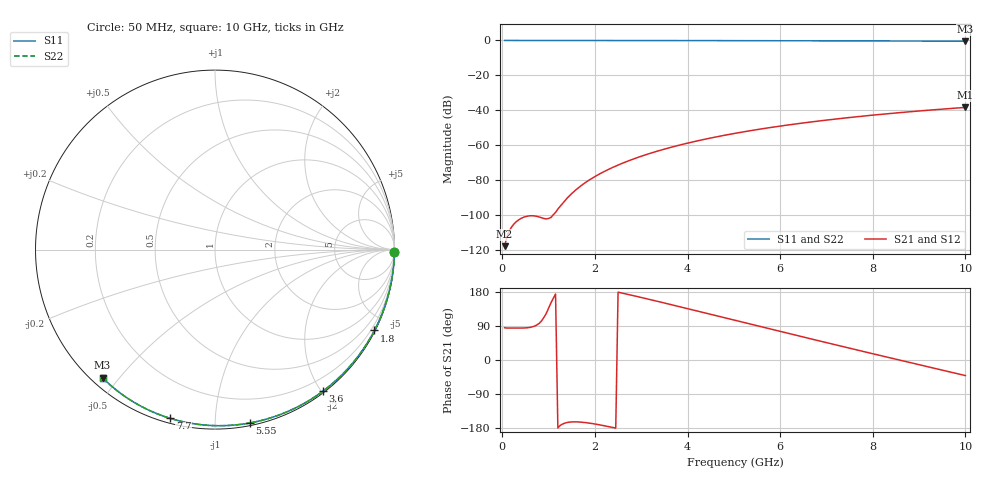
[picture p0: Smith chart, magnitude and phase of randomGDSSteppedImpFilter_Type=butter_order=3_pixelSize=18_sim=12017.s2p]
! freq	dB(S11)	phase(S11)	dB(S12)	phase(S12)
!  dB(S21)	phase(S21)	dB(S22)	phase(S22)
!S-par simulation data
#  GHz  S  DB  R 50
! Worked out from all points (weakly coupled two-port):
!   200 points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, 50 MHz to 10 GHz, reference 50 ohm
!   highest |S21| = -38.41 dB at 10 GHz (marker M1); lowest = -118.0 dB at 50 MHz (marker M2)
!   lowest |S11| = -0.4 dB at 10 GHz (marker M3), VSWR 39.08, Z = 1.54 - j22.6 ohm
!   |S11| at or under -10 dB: nowhere
!   |S22| runs from -0.4 to 0.0 dB; largest |S21 - S12| = 0
!   S11 on the Smith chart (normalised r, x): 50 MHz: open; 1.8 GHz: 0.04, -4.18; 3.6 GHz: 0.02, -2.02; 5.55 GHz: 0.02, -1.22; 7.7 GHz: 0.02, -0.77; 10 GHz: 0.03, -0.45
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0.05  -0.00 -0.8  -117.98 85.1  -117.98 85.1  -0.00 -0.8
0.9  -0.02 -13.6  -102.12 112.7  -102.12 112.7  -0.02 -13.6
1.75  -0.03 -26.2  -82.34 -164.5  -82.34 -164.5  -0.03 -26.2
1.8  -0.03 -26.9  -81.41 -165.2  -81.41 -165.2  -0.03 -26.9
1.85  -0.04 -27.6  -80.52 -166.0  -80.52 -166.0  -0.04 -27.6
1.9  -0.04 -28.4  -79.67 -166.9  -79.67 -166.9  -0.04 -28.4
2.05  -0.04 -30.5  -77.30 -170.0  -77.30 -170.0  -0.04 -30.5
2.25  -0.04 -33.5  -74.50 -174.6  -74.50 -174.6  -0.04 -33.4
2.45  -0.05 -36.3  -72.03 -179.7  -72.03 -179.7  -0.05 -36.3
2.65  -0.05 -39.2  -69.81 174.9  -69.81 174.9  -0.05 -39.2
3  -0.06 -44.2  -66.41 165.0  -66.41 165.0  -0.06 -44.2
3.4  -0.07 -49.8  -63.07 153.4  -63.07 153.4  -0.07 -49.8
3.6  -0.07 -52.6  -61.58 147.5  -61.58 147.5  -0.07 -52.6
4.3  -0.09 -62.2  -57.07 126.5  -57.07 126.5  -0.09 -62.1
5.05  -0.11 -72.1  -53.15 104.0  -53.15 104.0  -0.11 -72.1
5.55  -0.13 -78.6  -50.91 89.0  -50.91 89.0  -0.13 -78.6
6.1  -0.15 -85.5  -48.73 72.5  -48.73 72.5  -0.15 -85.5
6.7  -0.18 -92.9  -46.63 54.7  -46.63 54.7  -0.18 -92.9
7.7  -0.24 -104.9  -43.63 25.3  -43.63 25.3  -0.24 -104.9
8.35  -0.29 -112.5  -41.95 6.4  -41.95 6.4  -0.29 -112.5
9.15  -0.36 -121.7  -40.11 -16.7  -40.11 -16.7  -0.36 -121.6
10  -0.44 -131.2  -38.41 -41.1  -38.41 -41.1  -0.44 -131.2
